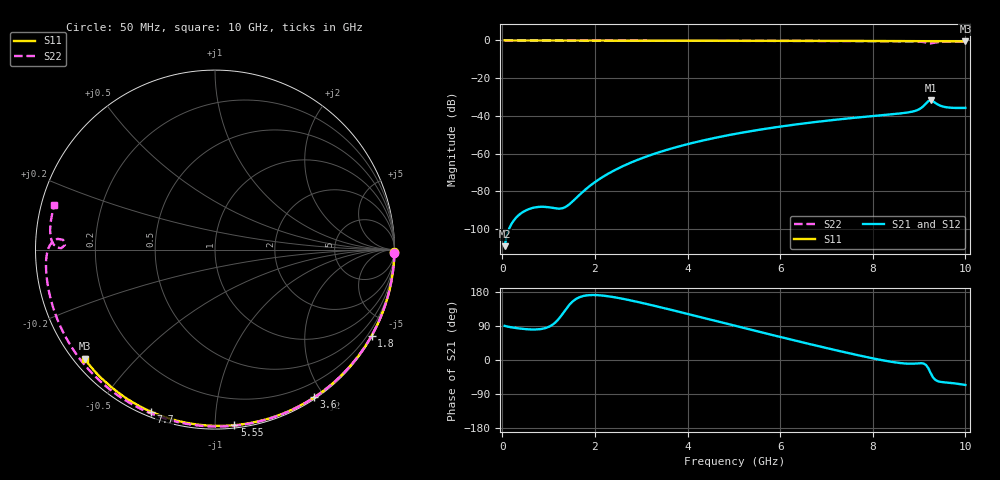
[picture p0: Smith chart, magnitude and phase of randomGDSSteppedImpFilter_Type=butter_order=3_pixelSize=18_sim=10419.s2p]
! freq	dB(S11)	phase(S11)	dB(S12)	phase(S12)
!  dB(S21)	phase(S21)	dB(S22)	phase(S22)
!S-par simulation data
#  GHz  S  DB  R 50
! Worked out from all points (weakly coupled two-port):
!   200 points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, 50 MHz to 10 GHz, reference 50 ohm
!   highest |S21| = -31.70 dB at 9.25 GHz (marker M1); lowest = -109.0 dB at 50 MHz (marker M2)
!   lowest |S11| = -0.5 dB at 10 GHz (marker M3), VSWR 37.05, Z = 1.53 - j18.2 ohm
!   |S11| at or under -10 dB: nowhere
!   |S22| runs from -1.6 to 0.0 dB; largest |S21 - S12| = 0
!   S11 on the Smith chart (normalised r, x): 50 MHz: open; 1.8 GHz: 0.03, -3.90; 3.6 GHz: 0.02, -1.88; 5.55 GHz: 0.02, -1.12; 7.7 GHz: 0.02, -0.68; 10 GHz: 0.03, -0.36
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0.05  -0.00 -0.8  -109.02 90.2  -109.02 90.2  -0.00 -1.2
0.85  -0.02 -13.7  -88.14 82.1  -88.14 82.1  -0.02 -19.5
1.75  -0.04 -28.0  -79.97 168.9  -79.97 168.9  -0.05 -39.7
1.8  -0.04 -28.7  -78.91 170.1  -78.91 170.1  -0.05 -40.8
2.1  -0.04 -33.4  -73.42 170.8  -73.42 170.8  -0.06 -47.4
2.45  -0.05 -38.8  -68.45 165.0  -68.45 165.0  -0.07 -54.9
2.9  -0.06 -45.7  -63.48 153.8  -63.48 153.8  -0.08 -64.4
3.4  -0.07 -53.2  -59.13 139.6  -59.13 139.6  -0.10 -74.6
3.6  -0.08 -56.1  -57.64 133.7  -57.64 133.7  -0.10 -78.7
4.3  -0.09 -66.3  -53.19 112.5  -53.19 112.5  -0.13 -92.4
5.05  -0.12 -76.8  -49.43 89.6  -49.43 89.6  -0.16 -106.6
5.55  -0.14 -83.7  -47.33 74.4  -47.33 74.4  -0.19 -115.9
6.7  -0.19 -98.9  -43.40 40.2  -43.40 40.2  -0.26 -136.5
7.7  -0.26 -111.7  -40.75 12.1  -40.75 12.1  -0.34 -154.4
8.35  -0.31 -119.8  -39.27 -3.7  -39.27 -3.7  -0.41 -166.4
8.95  -0.36 -127.2  -37.02 -9.1  -37.02 -9.1  -0.58 -178.9
9.05  -0.38 -128.4  -35.71 -8.4  -35.71 -8.4  -0.72 178.5
9.15  -0.38 -129.6  -33.37 -13.1  -33.37 -13.1  -1.12 176.1
9.25  -0.39 -130.8  -31.70 -34.5  -31.70 -34.5  -1.55 178.2
9.35  -0.39 -132.0  -33.08 -52.4  -33.08 -52.4  -1.09 179.2
9.55  -0.42 -134.5  -35.23 -59.0  -35.23 -59.0  -0.71 174.5
10  -0.47 -140.0  -35.75 -65.9  -35.75 -65.9  -0.64 164.6
